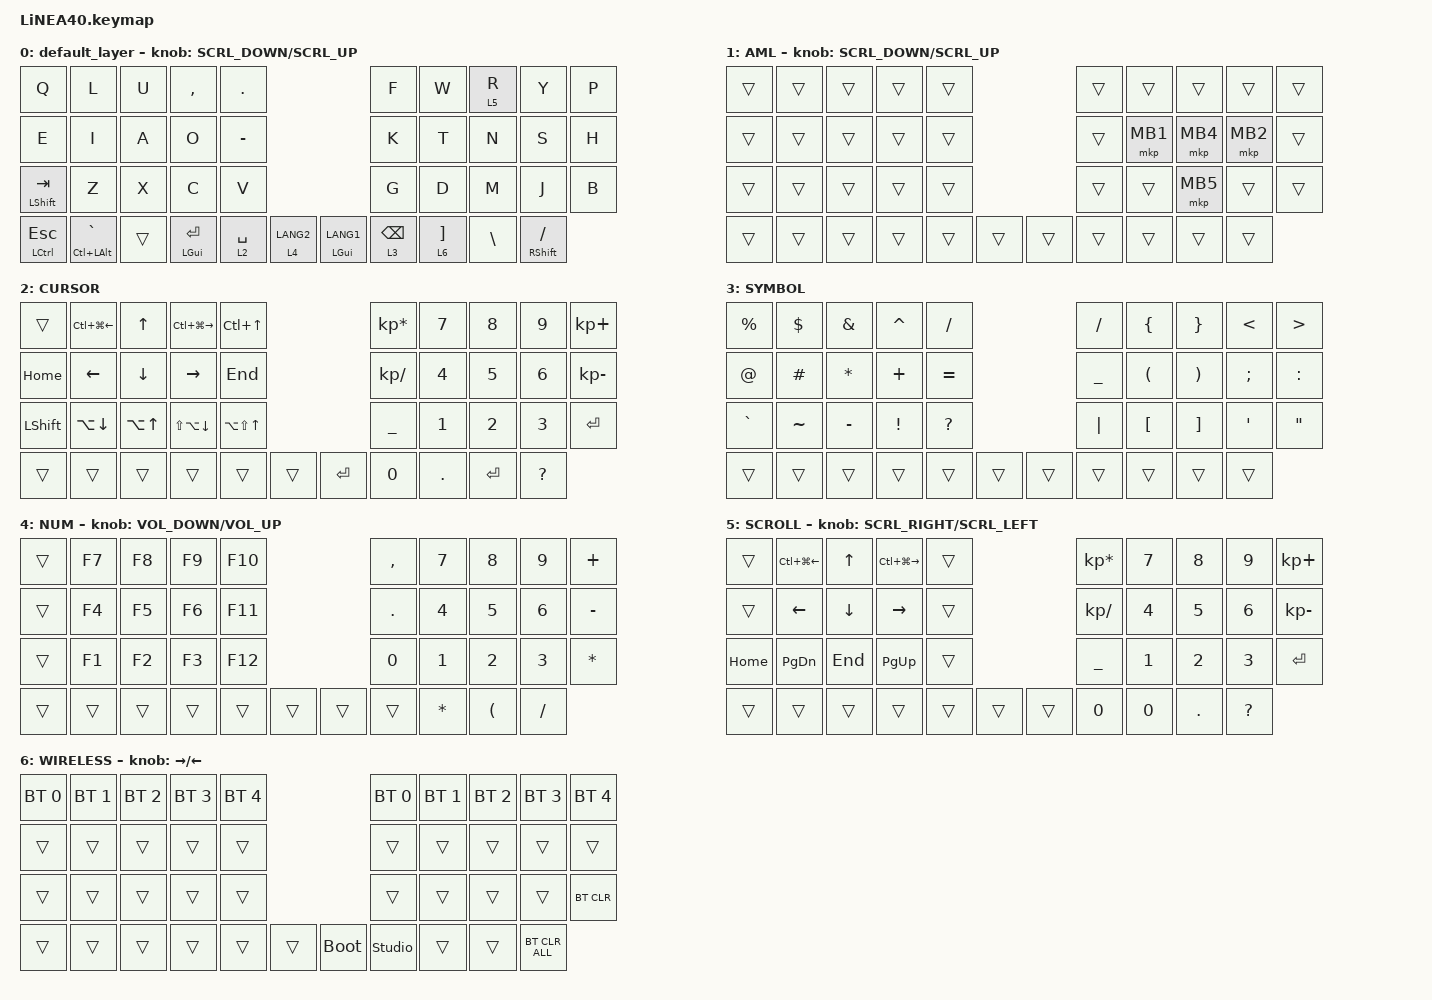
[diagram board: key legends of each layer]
#define ZMK_POINTING_DEFAULT_SCRL_VAL 150

#include <dt-bindings/zmk/input_transform.h>
#include <input/processors.dtsi>
#include <zephyr/dt-bindings/input/input-event-codes.h>
#include <behaviors.dtsi>
#include <dt-bindings/zmk/bt.h>
#include <dt-bindings/zmk/keys.h>
#include <dt-bindings/zmk/pointing.h>

#define MOUSE 1
#define MARK 2
#define CURSOR 3
#define FUNCTION 4
#define SCROLL 5
#define WIRELESS 6

//mouse cursol

&mmv {
    delay-ms = <20>;
    trigger-period-ms = <5>;
    time-to-max-speed-ms = <100>;
    acceleration-exponent = <2>;
};

//mouse scroll

&msc {
    delay-ms = <3>;
    trigger-period-ms = <3>;
    time-to-max-speed-ms = <100>;
    acceleration-exponent = <0>;
};

/ {
    input_processors {
        zip_wheel_scaler: zip_wheel_scaler {
            compatible = "zmk,input-processor-scaler";
            #input-processor-cells = <2>;
            type = <INPUT_EV_REL>;
            codes = <INPUT_REL_WHEEL>;
            track-remainders;
        };
    };
};

&msc_input_listener {
    speed_up {
        layers = <FUNCTION>;
        input-processors = <&zip_wheel_scaler 3 1>; //スクロールを3倍速にする
    };
};

&trackball_listener {
    scroller {
        layers = <SCROLL>;
        input-processors =
            <&zip_xy_transform INPUT_TRANSFORM_Y_INVERT>,
            //スクロール方向を逆転,,,,,,,,,,,
            <&zip_xy_to_scroll_mapper>;
    };
};

/ {
    combos {
        compatible = "zmk,combos";

        ZenkakuHankaku {
            bindings = <&kp GRAVE>;
            key-positions = <11 12>;
        };

        DeleteKey {
            bindings = <&kp DEL>;
            key-positions = <7 8>;
        };

        InsertKey {
            bindings = <&kp INS>;
            key-positions = <6 7>;
        };

        CenterClick {
            bindings = <&mkp MB3>;
            key-positions = <17 16>;
        };

        RightClick {
            bindings = <&mkp MB2>;
            key-positions = <18 17>;
        };

        PrevClick {
            bindings = <&mkp MB4>;
            key-positions = <27 28>;
        };

        ClickNext {
            bindings = <&mkp MB5>;
            key-positions = <26 27>;
        };
    };

    behaviors {
        re_kp: sensor_rotate_kp {
            compatible = "zmk,behavior-sensor-rotate-var";
            #sensor-binding-cells = <2>;
            bindings = <&kp>, <&kp>;
        };

        mouse_scrl: mouse_wheel_scrl {
            compatible = "zmk,behavior-sensor-rotate-var";
            #sensor-binding-cells = <2>;
            bindings = <&msc>, <&msc>;

            tap-ms = <20>;
        };
    };

    keymap {
        compatible = "zmk,keymap";

        default_layer {
            bindings = <
&kp Q               &kp L                   &kp U   &kp COMMA       &kp PERIOD                                      &kp F            &kp W  &lt 5 R              &kp Y          &kp P
&kp E               &kp I                   &kp A   &kp O           &kp MINUS                                       &kp K            &kp T  &kp N                &kp S          &kp H
&mt LEFT_SHIFT TAB  &kp Z                   &kp X   &kp C           &kp V                                           &kp G            &kp D  &kp M                &kp J          &kp B
&mt LCTRL ESC       &mt LC(LEFT_ALT) GRAVE  &trans  &mt LGUI ENTER  &lt 2 SPACE  &lt 4 LANG2    &mt LEFT_GUI LANG1  &lt 3 BACKSPACE         &lt 6 RIGHT_BRACKET  &kp BACKSLASH  &mt RIGHT_SHIFT SLASH
            >;

            sensor-bindings = <&mouse_scrl SCRL_DOWN SCRL_UP>;
        };

        AML {
            bindings = <
&trans  &trans  &trans  &trans  &trans                    &trans  &trans    &trans    &trans    &trans
&trans  &trans  &trans  &trans  &trans                    &trans  &mkp MB1  &mkp MB4  &mkp MB2  &trans
&trans  &trans  &trans  &trans  &trans                    &trans  &trans    &mkp MB5  &trans    &trans
&trans  &trans  &trans  &trans  &trans  &trans    &trans  &trans            &trans    &trans    &trans
            >;

            sensor-bindings = <&mouse_scrl SCRL_DOWN SCRL_UP>;
        };

        CURSOR {
            bindings = <
&trans          &kp LC(LG(LEFT_ARROW))  &kp UP_ARROW  &kp LC(LG(RIGHT_ARROW))  &kp LC(UP)                           &kp KP_MULTIPLY  &kp NUMBER_7  &kp NUMBER_8  &kp NUMBER_9  &kp KP_PLUS
&kp HOME        &kp LEFT_ARROW          &kp DOWN      &kp RIGHT_ARROW          &kp END                              &kp KP_SLASH     &kp NUMBER_4  &kp NUMBER_5  &kp NUMBER_6  &kp KP_MINUS
&kp LEFT_SHIFT  &kp LA(DOWN)            &kp LA(UP)    &kp LS(LA(DOWN))         &kp LA(LS(UP))                       &kp UNDER        &kp NUMBER_1  &kp NUMBER_2  &kp NUMBER_3  &kp ENTER
&trans          &trans                  &trans        &trans                   &trans          &trans    &kp ENTER  &kp NUMBER_0                   &kp DOT       &kp ENTER     &kp QUESTION
            >;
        };

        SYMBOL {
            bindings = <
&kp PERCENT  &kp DOLLAR  &kp AMPERSAND  &kp CARET  &kp SLASH                       &kp SLASH       &kp LEFT_BRACE        &kp RIGHT_BRACE        &kp LESS_THAN  &kp GREATER_THAN
&kp AT       &kp HASH    &kp ASTERISK   &kp PLUS   &kp EQUAL                       &kp UNDERSCORE  &kp LEFT_PARENTHESIS  &kp RIGHT_PARENTHESIS  &kp SEMI       &kp COLON
&kp GRAVE    &kp TILDE   &kp MINUS      &kp EXCL   &kp QUESTION                    &kp PIPE        &kp LBKT              &kp RBKT               &kp SQT        &kp DOUBLE_QUOTES
&trans       &trans      &trans         &trans     &trans        &trans    &trans  &trans                                &trans                 &trans         &trans
            >;
        };

        NUM {
            bindings = <
&trans  &kp F7  &kp F8  &kp F9  &kp F10                    &kp COMMA   &kp N7  &kp N8        &kp N9                &kp PLUS
&trans  &kp F4  &kp F5  &kp F6  &kp F11                    &kp PERIOD  &kp N4  &kp N5        &kp N6                &kp MINUS
&trans  &kp F1  &kp F2  &kp F3  &kp F12                    &kp N0      &kp N1  &kp N2        &kp N3                &kp ASTRK
&trans  &trans  &trans  &trans  &trans   &trans    &trans  &trans              &kp ASTERISK  &kp LEFT_PARENTHESIS  &kp SLASH
            >;

            sensor-bindings = <&re_kp C_VOLUME_DOWN C_VOLUME_UP>;
        };

        SCROLL {
            bindings = <
&trans    &kp LC(LG(LEFT_ARROW))  &kp UP_ARROW  &kp LC(LG(RIGHT_ARROW))  &trans                    &kp KP_MULTIPLY  &kp NUMBER_7  &kp NUMBER_8  &kp NUMBER_9  &kp KP_PLUS
&trans    &kp LEFT_ARROW          &kp DOWN      &kp RIGHT_ARROW          &trans                    &kp KP_SLASH     &kp NUMBER_4  &kp NUMBER_5  &kp NUMBER_6  &kp KP_MINUS
&kp HOME  &kp PAGE_DOWN           &kp END       &kp PAGE_UP              &trans                    &kp UNDER        &kp NUMBER_1  &kp NUMBER_2  &kp NUMBER_3  &kp ENTER
&trans    &trans                  &trans        &trans                   &trans  &trans    &trans  &kp NUMBER_0                   &kp NUMBER_0  &kp DOT       &kp QUESTION
            >;

            sensor-bindings = <&mouse_scrl SCRL_RIGHT SCRL_LEFT>;
        };

        WIRELESS {
            bindings = <
&bt BT_SEL 0  &bt BT_SEL 1  &bt BT_SEL 2  &bt BT_SEL 3  &bt BT_SEL 4                         &bt BT_SEL 0    &bt BT_SEL 1  &bt BT_SEL 2  &bt BT_SEL 3  &bt BT_SEL 4
&trans        &trans        &trans        &trans        &trans                               &trans          &trans        &trans        &trans        &trans
&trans        &trans        &trans        &trans        &trans                               &trans          &trans        &trans        &trans        &bt BT_CLR
&trans        &trans        &trans        &trans        &trans        &trans    &bootloader  &studio_unlock                &trans        &trans        &bt BT_CLR_ALL
            >;

            sensor-bindings = <&inc_dec_kp RIGHT_ARROW LEFT_ARROW>;
        };
    };
};
